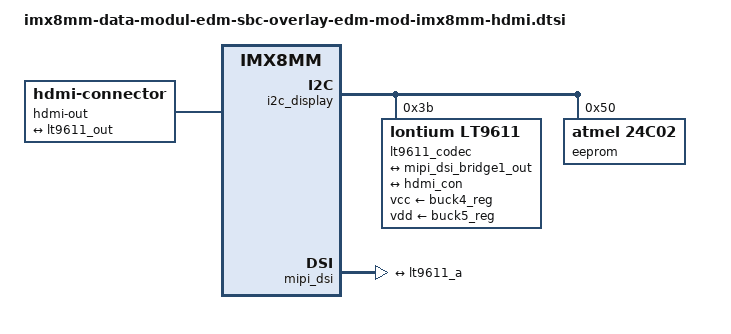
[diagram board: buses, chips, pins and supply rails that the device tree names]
// SPDX-License-Identifier: (GPL-2.0+ OR MIT)
/*
 * Copyright 2026 Marek Vasut
 */

#include <dt-bindings/gpio/gpio.h>
#include <dt-bindings/interrupt-controller/arm-gic.h>

&{/} {
	hdmi-out {
		compatible = "hdmi-connector";
		type = "a";

		port {
			hdmi_con: endpoint {
				remote-endpoint = <&lt9611_out>;
			};
		};
	};
};

&i2c_display {	/* Display connector I2C */
	#address-cells = <1>;
	#size-cells = <0>;

	lt9611_codec: hdmi-bridge@3b {
		compatible = "lontium,lt9611";
		reg = <0x3b>;
		pinctrl-names = "default";
		pinctrl-0 = <&pinctrl_panel_expansion>;
		vcc-supply = <&buck4_reg>;	/* X400 pin 55, +3V3_S0 */
		vdd-supply = <&buck5_reg>;	/* X400 pin 51, +1V8_S0 */

		/* Audio I2S not described */
		#sound-dai-cells = <1>;

		ports {
			#address-cells = <1>;
			#size-cells = <0>;

			port@0 {
				reg = <0>;

				lt9611_a: endpoint {
					remote-endpoint = <&mipi_dsi_bridge1_out>;
				};
			};

			port@2 {
				reg = <2>;

				lt9611_out: endpoint {
					remote-endpoint = <&hdmi_con>;
				};
			};
		};
	};

	eeprom@50 {
		compatible = "atmel,24c02";
		reg = <0x50>;
		pagesize = <16>;
	};
};

&iomuxc {
	/* Free &pinctrl_panel_expansion from hog for lt9611_codec above */
	pinctrl-0 = <&pinctrl_hog_misc>, <&pinctrl_hog_feature>,
		    <&pinctrl_hog_panel>, <&pinctrl_hog_sbc>;
};

&mipi_dsi {
	/* HDMI 148.5 MHz x2 (DDR) x3 (24bpp / 8) */
	samsung,burst-clock-frequency = <891000000>;
	samsung,esc-clock-frequency = <10000000>;
	status = "okay";

	ports {
		#address-cells = <1>;
		#size-cells = <0>;

		port@1 {
			reg = <1>;

			mipi_dsi_bridge1_out: endpoint {
				clock-lanes = <0>;
				data-lanes = <1 2 3 4>;
				/* Clock and data lanes have DN/DP swapped */
				lane-polarities = <1 1 1 1 1>;
				remote-endpoint = <&lt9611_a>;
			};
		};
	};
};
